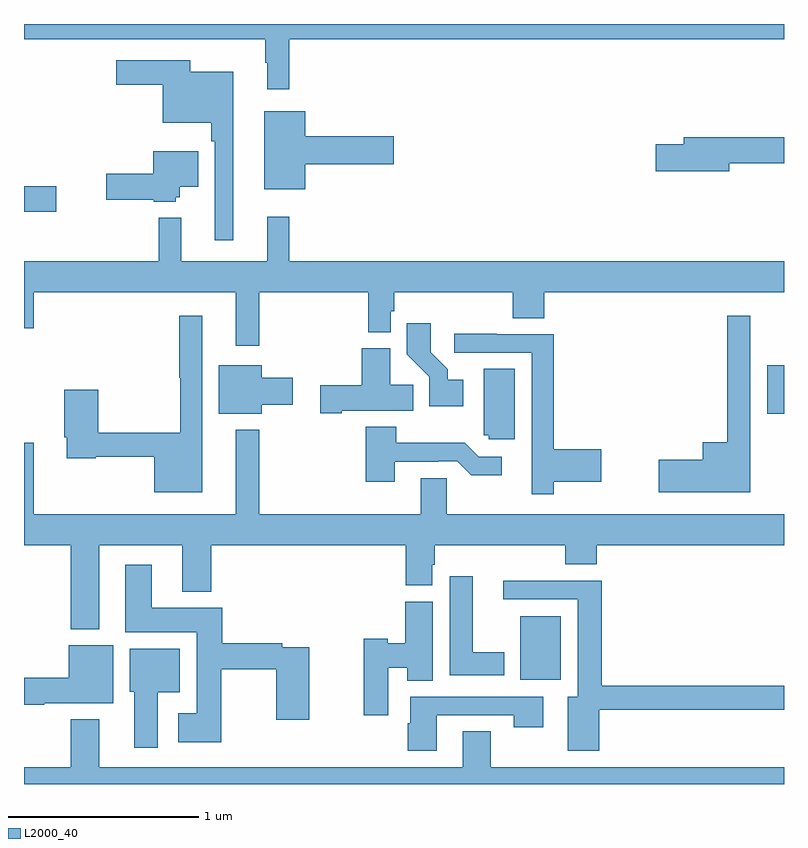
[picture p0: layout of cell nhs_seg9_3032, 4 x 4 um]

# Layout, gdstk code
import gdstk
lib = gdstk.Library(unit=1e-6, precision=1e-09)
def R(c, l, rs):  # rectangles x0, y0, x1, y1
    for r in rs: c.add(gdstk.rectangle(r[:2], r[2:], *l))
def P(c, l, *ps):  # polygons
    for p in ps: c.add(gdstk.Polygon(p, *l))
L2000_40 = (2000, 40)

nhs_seg9_3032 = lib.new_cell('nhs_seg9_3032')
R(nhs_seg9_3032, L2000_40, [(287.612,1193.048,287.824,1193.383), (288.911,1194.449,289,1194.703), (285,1195.511,285.169,1195.646)])
P(nhs_seg9_3032, L2000_40, [(286.397,1196.42),(289,1196.42),(289,1196.5),(285,1196.5),(285,1196.42),(286.269,1196.42),(286.269,1196.297),(286.28,1196.297),(286.28,1196.157),(286.397,1196.157)],
  [(286.102,1196.248),(285.874,1196.248),(285.874,1196.308),(285.486,1196.308),(285.486,1196.179),(285.731,1196.179),(285.731,1195.979),(285.985,1195.979),(285.985,1195.883),(286.005,1195.883),(286.005,1195.362),(286.102,1195.362)],
  [(286.48,1195.763),(286.945,1195.763),(286.945,1195.91),(286.48,1195.91),(286.48,1196.041),(286.265,1196.041),(286.265,1195.631),(286.48,1195.631)],
  [(288.712,1195.768),(289,1195.768),(289,1195.904),(288.473,1195.904),(288.473,1195.868),(288.324,1195.868),(288.324,1195.726),(288.712,1195.726)],
  [(285.798,1195.587),(285.82,1195.587),(285.82,1195.643),(285.916,1195.643),(285.916,1195.831),(285.68,1195.831),(285.68,1195.713),(285.432,1195.713),(285.432,1195.576),(285.684,1195.576),(285.684,1195.565),(285.798,1195.565)],
  [(286.237,1195.088),(286.813,1195.088),(286.813,1194.878),(286.929,1194.878),(286.929,1194.987),(286.949,1194.987),(286.949,1195.088),(287.573,1195.088),(287.573,1194.952),(287.738,1194.952),(287.738,1195.088),(289,1195.088),(289,1195.252),(286.397,1195.252),(286.397,1195.486),(286.28,1195.486),(286.28,1195.252),(285.827,1195.252),(285.827,1195.48),(285.709,1195.48),(285.709,1195.252),(285,1195.252),(285,1194.9),(285.052,1194.9),(285.052,1195.088),(286.115,1195.088),(286.115,1194.807),(286.237,1194.807)],
  [(285.937,1194.964),(285.816,1194.964),(285.816,1194.639),(285.823,1194.639),(285.823,1194.35),(285.39,1194.35),(285.39,1194.574),(285.212,1194.574),(285.212,1194.325),(285.224,1194.325),(285.224,1194.214),(285.378,1194.214),(285.378,1194.222),(285.686,1194.222),(285.686,1194.035),(285.937,1194.035)],
  [(288.823,1194.964),(288.702,1194.964),(288.702,1194.298),(288.572,1194.298),(288.572,1194.206),(288.342,1194.206),(288.342,1194.035),(288.823,1194.035)],
  [(287.311,1194.628),(287.23,1194.628),(287.23,1194.683),(287.14,1194.773),(287.14,1194.925),(287.014,1194.925),(287.014,1194.762),(287.133,1194.643),(287.133,1194.488),(287.311,1194.488)],
  [(287.789,1194.092),(288.037,1194.092),(288.037,1194.263),(287.789,1194.263),(287.789,1194.867),(287.489,1194.867),(287.489,1194.87),(287.265,1194.87),(287.265,1194.771),(287.673,1194.771),(287.673,1194.246),(287.672,1194.246),(287.672,1194.024),(287.789,1194.024)],
  [(286.672,1194.464),(287.048,1194.464),(287.048,1194.602),(286.927,1194.602),(286.927,1194.793),(286.778,1194.793),(286.778,1194.599),(286.56,1194.599),(286.56,1194.452),(286.672,1194.452)],
  [(286.252,1194.497),(286.414,1194.497),(286.414,1194.639),(286.252,1194.639),(286.252,1194.703),(286.025,1194.703),(286.025,1194.449),(286.252,1194.449)],
  [(287.584,1194.685),(287.42,1194.685),(287.42,1194.336),(287.445,1194.336),(287.445,1194.315),(287.584,1194.315)],
  [(286.951,1194.195),(287.18,1194.195),(287.18,1194.198),(287.28,1194.198),(287.353,1194.125),(287.515,1194.125),(287.515,1194.222),(287.394,1194.222),(287.321,1194.295),(286.959,1194.295),(286.959,1194.379),(286.799,1194.379),(286.799,1194.09),(286.951,1194.09)],
  [(285.397,1193.756),(285.833,1193.756),(285.833,1193.513),(285.986,1193.513),(285.986,1193.756),(287.009,1193.756),(287.009,1193.545),(287.149,1193.545),(287.149,1193.655),(287.162,1193.655),(287.162,1193.756),(287.849,1193.756),(287.849,1193.657),(288.014,1193.657),(288.014,1193.756),(289,1193.756),(289,1193.92),(287.226,1193.92),(287.226,1194.11),(287.087,1194.11),(287.087,1193.92),(286.237,1193.92),(286.237,1194.364),(286.115,1194.364),(286.115,1193.92),(285.052,1193.92),(285.052,1194.295),(285,1194.295),(285,1193.756),(285.245,1193.756),(285.245,1193.315),(285.397,1193.315)],
  [(286.038,1193.104),(286.327,1193.104),(286.327,1192.839),(286.5,1192.839),(286.5,1193.22),(286.358,1193.22),(286.358,1193.24),(286.043,1193.24),(286.043,1193.428),(285.673,1193.428),(285.673,1193.653),(285.533,1193.653),(285.533,1193.3),(285.908,1193.3),(285.908,1192.873),(285.813,1192.873),(285.813,1192.721),(286.038,1192.721)],
  [(287.527,1193.194),(287.362,1193.194),(287.362,1193.593),(287.24,1193.593),(287.24,1193.072),(287.527,1193.072)],
  [(288.028,1192.89),(289,1192.89),(289,1193.018),(288.041,1193.018),(288.041,1193.57),(287.523,1193.57),(287.523,1193.472),(287.915,1193.472),(287.915,1192.96),(287.861,1192.96),(287.861,1192.674),(288.028,1192.674)],
  [(286.918,1193.111),(287.018,1193.111),(287.018,1193.044),(287.152,1193.044),(287.152,1193.46),(287.006,1193.46),(287.006,1193.241),(286.914,1193.241),(286.914,1193.264),(286.789,1193.264),(286.789,1192.863),(286.918,1192.863)],
  [(285.106,1192.925),(285.469,1192.925),(285.469,1193.23),(285.236,1193.23),(285.236,1193.06),(285,1193.06),(285,1192.918),(285.106,1192.918)],
  [(285.703,1192.982),(285.82,1192.982),(285.82,1193.212),(285.557,1193.212),(285.557,1192.986),(285.581,1192.986),(285.581,1192.692),(285.703,1192.692)],
  [(287.173,1192.863),(287.578,1192.863),(287.578,1192.8),(287.734,1192.8),(287.734,1192.959),(287.033,1192.959),(287.033,1192.821),(287.021,1192.821),(287.021,1192.674),(287.173,1192.674)],
  [(289,1192.588),(287.457,1192.588),(287.457,1192.778),(287.309,1192.778),(287.309,1192.588),(285.397,1192.588),(285.397,1192.84),(285.245,1192.84),(285.245,1192.588),(285,1192.588),(285,1192.5),(289,1192.5)])

lib.write_gds('nhs_seg9_3032.gds')
